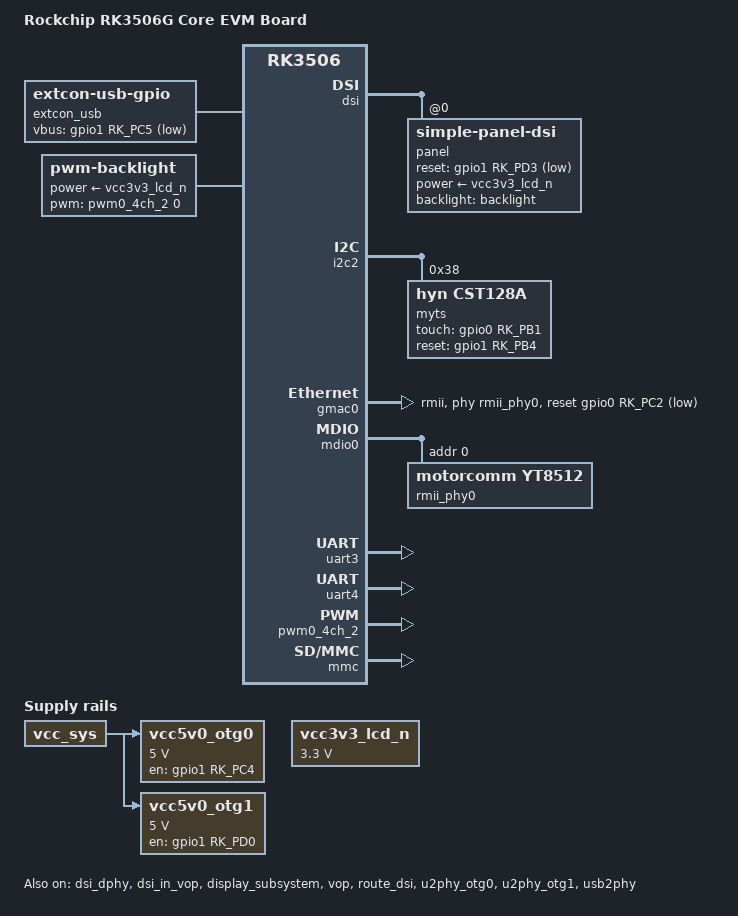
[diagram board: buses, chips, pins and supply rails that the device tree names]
// SPDX-License-Identifier: (GPL-2.0+ OR MIT)
/*
 * Copyright (c) 2024 Rockchip Electronics Co., Ltd.
 */

/dts-v1/;

#include "rk3506.dtsi"
#include "rk3506-evb1-v10.dtsi"
#include <dt-bindings/display/drm_mipi_dsi.h>

/ {
	model = "Rockchip RK3506G Core EVM Board";
	compatible = "rockchip,rk3506g-core-evm", "rockchip,rk3506";

	chosen {
		bootargs = "earlycon=uart8250,mmio32,0xff0a0000,115200 console=ttyFIQ0,115200 storagemedia=sd root=/dev/mmcblk0p3 rootfstype=ext4 rw rootwait";
	};

	extcon_usb: extcon-usb {
		compatible = "linux,extcon-usb-gpio";
		vbus-gpio = <&gpio1 RK_PC5 GPIO_ACTIVE_LOW>;
		pinctrl-names = "default";
		pinctrl-0 = <&usb_extcon_vbus>;
		status = "okay";
	};

	vcc3v3_lcd_n: vcc3v3-lcd0-n {
		compatible = "regulator-fixed";
		/* GPIO1_D3 is now used for LCD_RESET, so remove GPIO control for power */
		/* Power is always on or controlled by hardware */
		regulator-name = "vcc3v3_lcd_n";
		regulator-boot-on;
		regulator-always-on;
		regulator-min-microvolt = <3300000>;
		regulator-max-microvolt = <3300000>;
		status = "okay";
		regulator-state-mem {
			regulator-on-in-suspend;
		};
	};

	vcc5v0_otg0: vcc5v0-otg0-regulator {
		compatible = "regulator-fixed";
		regulator-name = "vcc5v0_otg0";
		regulator-min-microvolt = <5000000>;
		regulator-max-microvolt = <5000000>;
		enable-active-high;
		gpio = <&gpio1 RK_PC4 GPIO_ACTIVE_HIGH>;
		vin-supply = <&vcc_sys>;
		pinctrl-names = "default";
		pinctrl-0 = <&vcc5v0_otg0_en>;
	};

	vcc5v0_otg1: vcc5v0-otg1-regulator {
		compatible = "regulator-fixed";
		regulator-name = "vcc5v0_otg1";
		regulator-boot-on;
		regulator-always-on;
		regulator-min-microvolt = <5000000>;
		regulator-max-microvolt = <5000000>;
		enable-active-high;
		gpio = <&gpio1 RK_PD0 GPIO_ACTIVE_HIGH>;
		vin-supply = <&vcc_sys>;
		pinctrl-names = "default";
		pinctrl-0 = <&vcc5v0_otg1_en>;
	};

	backlight: backlight {
		compatible = "pwm-backlight";
		pwms = <&pwm0_4ch_2 0 25000 0>;
		power-supply = <&vcc3v3_lcd_n>;
		brightness-levels = <
			  0  20  20  21  21  22  22  23
			 23  24  24  25  25  26  26  27
			 27  28  28  29  29  30  30  31
			 31  32  32  33  33  34  34  35
			 35  36  36  37  37  38  38  39
			 40  41  42  43  44  45  46  47
			 48  49  50  51  52  53  54  55
			 56  57  58  59  60  61  62  63
			 64  65  66  67  68  69  70  71
			 72  73  74  75  76  77  78  79
			 80  81  82  83  84  85  86  87
			 88  89  90  91  92  93  94  95
			 96  97  98  99 100 101 102 103
			104 105 106 107 108 109 110 111
			112 113 114 115 116 117 118 119
			120 121 122 123 124 125 126 127
			128 129 130 131 132 133 134 135
			136 137 138 139 140 141 142 143
			144 145 146 147 148 149 150 151
			152 153 154 155 156 157 158 159
			160 161 162 163 164 165 166 167
			168 169 170 171 172 173 174 175
			176 177 178 179 180 181 182 183
			184 185 186 187 188 189 190 191
			192 193 194 195 196 197 198 199
			200 201 202 203 204 205 206 207
			208 209 210 211 212 213 214 215
			216 217 218 219 220 221 222 223
			224 225 226 227 228 229 230 231
			232 233 234 235 236 237 238 239
			240 241 242 243 244 245 246 247
			248 249 250 251 252 253 254 255
		>;
		default-brightness-level = <200>;
		status = "okay";
	};
};

&acodec_sound {
	status = "disabled";
};

&cma {
	size = <0x1600000>;
};

&dsi {
	status = "okay";
	/* Try higher lane rate to match manufacturer's configuration (996 Mbps) */
	/* Original: 850, Manufacturer: 996 */
	rockchip,lane-rate = <996>;

	panel@0 {
		compatible = "simple-panel-dsi";
		reg = <0>;
		power-supply = <&vcc3v3_lcd_n>;
		/* GPIO1_D3 -> LCD_RESET (according to hardware connection table) */
		reset-gpios = <&gpio1 RK_PD3 GPIO_ACTIVE_LOW>;
		backlight = <&backlight>;
		
		/* Timing delays */
		reset-delay-ms = <30>;
		enable-delay-ms = <100>;
		prepare-delay-ms = <20>;
		unprepare-delay-ms = <20>;
		disable-delay-ms = <20>;
		init-delay-ms = <120>;
		
		/* DSI configuration */
		dsi,flags = <(MIPI_DSI_MODE_VIDEO | MIPI_DSI_MODE_VIDEO_BURST |
			      MIPI_DSI_MODE_LPM | MIPI_DSI_MODE_NO_EOT_PACKET)>;
		dsi,format = <MIPI_DSI_FMT_RGB888>;
		dsi,lanes = <2>;
		
		/* Panel initialization sequence from rk3506-evm-nand-480x800-mipi.dtsi */
		/* Note: Comments in panel-init-sequence may cause parsing errors, removed them */
		panel-init-sequence = [
			05 78 01 01
			05 78 01 11
			39 00 06 FF 77 01 00 00 11
			15 00 02 D1 11
			15 00 02 55 B0
			39 00 06 FF 77 01 00 00 10
			39 00 03 C0 63 00
			39 00 03 C1 09 02
			39 00 03 C2 37 08
			15 00 02 C7 00
			15 00 02 CC 38
			39 00 11 B0 00 11 19 0C 10 06 07 0A 09 22 04 10 0E 28 30 1C
			39 00 11 B1 00 12 19 0D 10 04 06 07 08 23 04 12 11 28 30 1C
			39 00 06 FF 77 01 00 00 11
			15 00 02 B0 4D
			15 00 02 B1 60
			15 00 02 B2 07
			15 00 02 B3 80
			15 00 02 B5 47
			15 00 02 B7 8A
			15 00 02 B8 21
			15 00 02 C1 78
			15 00 02 C2 78
			15 64 02 D0 88
			39 00 04 E0 00 00 02
			39 00 0C E1 01 A0 03 A0 02 A0 04 A0 00 44 44
			39 00 0D E2 00 00 00 00 00 00 00 00 00 00 00 00
			39 00 05 E3 00 00 33 33
			39 00 03 E4 44 44
			39 00 11 E5 01 26 A0 A0 03 28 A0 A0 05 2A A0 A0 07 2C A0 A0
			39 00 05 E6 00 00 33 33
			39 00 03 E7 44 44
			39 00 11 E8 02 26 A0 A0 04 28 A0 A0 06 2A A0 A0 08 2C A0 A0
			39 00 08 EB 00 01 E4 E4 44 00 40
			39 00 11 ED FF F7 65 4F 0B A1 CF FF FF FC 1A B0 F4 56 7F FF
			39 00 06 FF 77 01 00 00 00
			15 00 02 36 00
			15 00 02 3A 55
			05 78 01 11
			05 14 01 29
		];
		
		/* Panel exit sequence */
		panel-exit-sequence = [
			05 00 01 28
			05 00 01 10
		];
		
		/* Bits per color - required by panel-simple-dsi */
		/* Must be before subnodes (display-timings) */
		bpc = <8>;
		
		/* Display timings for 480x800 panel */
		display-timings {
			native-mode = <&dsi_timing0>;
			dsi_timing0: timing0 {
				clock-frequency = <27000000>;
				hactive = <480>;
				vactive = <800>;
				hfront-porch = <32>;
				hsync-len = <4>;
				hback-porch = <32>;
				vfront-porch = <9>;
				vsync-len = <4>;
				vback-porch = <3>;
				hsync-active = <0>;
				vsync-active = <0>;
				de-active = <0>;
				pixelclk-active = <0>;
			};
		};
	};
};

&dsi_dphy {
	status = "okay";
};

&dsi_in_vop {
	status = "okay";
};

&es8388 {
	status = "disabled";
};

&es8388_sound {
	status = "disabled";
};

//&i2c2 {
//	clock-frequency = <400000>;
//	pinctrl-names = "default";
//	pinctrl-0 = <&rm_io4_i2c2_scl &rm_io5_i2c2_sda>;
//	status = "okay";
//
//	gt1x: gt1x@14 {
//		compatible = "goodix,gt1x";
//		reg = <0x14>;
//		gtp_ics_slot_report;
//		goodix,rst-gpio = <&gpio1 RK_PB4 GPIO_ACTIVE_HIGH>; /* GPIO1_B4 -> CAP_RST */
//		goodix,irq-gpio = <&gpio0 RK_PB1 GPIO_ACTIVE_LOW>; /* GPIO0_B1 -> CAP_TS_INT */
//		power-supply = <&vcc3v3_lcd_n>;
//		status = "okay";
//	};
//};

// TOUCH
&i2c2 {
	status = "okay";
	 pinctrl-0 = <&rm_io4_i2c2_scl &rm_io5_i2c2_sda>;

	myts@38 {
		status = "okay";
		compatible = "hyn,cst128a";
		reg = <0x38>;
		tp-size = <89>;
		max-x = <480>;
		max-y = <800>;
		touch-gpio = <&gpio0 RK_PB1 IRQ_TYPE_LEVEL_LOW>;
		reset-gpio = <&gpio1 RK_PB4 GPIO_ACTIVE_HIGH>;
	};
};

&pinctrl {
	myts{
		touch_gpio: touch-gpio {
			rockchip,pins = <0 RK_PB1 RK_FUNC_GPIO &pcfg_pull_up>;
		};
	};
};

&pinctrl {
	usb {
		usb_extcon_vbus: usb-extcon-vbus {
			rockchip,pins = <1 RK_PC5 RK_FUNC_GPIO &pcfg_pull_none>;
		};

		vcc5v0_otg0_en: vcc5v0-otg0-en {
			rockchip,pins = <1 RK_PC4 RK_FUNC_GPIO &pcfg_pull_none>;
		};

		vcc5v0_otg1_en: vcc5v0-otg1-en {
			rockchip,pins = <1 RK_PD0 RK_FUNC_GPIO &pcfg_pull_none>;
		};
	};

	sdmmc {
		/omit-if-no-ref/
		sdmmc_det: sdmmc-det {
			rockchip,pins = <3 RK_PA7 RK_FUNC_GPIO &pcfg_pull_up>;
		};
	};
};

&display_subsystem {
	status = "okay";
	/* logo-memory-region = <&drm_logo>; */
};

&vop {
	status = "okay";
};

&route_dsi {
	status = "okay";
};

&sai1 {
	status = "disabled";
};

&gmac0 {
	phy-mode = "rmii";
	clock_in_out = "input";

	snps,reset-gpio = <&gpio0 RK_PC2 GPIO_ACTIVE_LOW>;
	snps,reset-active-low;
	snps,reset-delays-us = <0 20000 100000>;

	pinctrl-names = "default";
	pinctrl-0 = <&eth_rmii0_miim_pins
		     &eth_rmii0_tx_bus2_pins
		     &eth_rmii0_rx_bus2_pins
		     &eth_rmii0_clk_pins>;

	phy-handle = <&rmii_phy0>;
	/* Fixed MAC address: da:40:4e:c0:94:55 */
	local-mac-address = [da 40 4e c0 94 55];
	status = "okay";
};

&mdio0 {
	status = "okay";
	/* Override PHY configuration for YT8512B */
	/delete-node/ phy@1;
	rmii_phy0: phy@0 {
		compatible = "motorcomm,yt8512", "ethernet-phy-id0000.0011", "ethernet-phy-ieee802.3-c22";
		reg = <0x0>;
		max-speed = <100>;
		clocks = <&cru CLK_MAC_OUT>;
		assigned-clocks = <&cru CLK_MAC_OUT>;
		assigned-clock-rates = <25000000>;
	};
};

&uart0 {
	/* UART0 must be disabled when FIQ debugger uses it */
	/* FIQ debugger will take control of UART0 */
	status = "disabled";
};

&uart3 {
	pinctrl-names = "default";
	pinctrl-0 = <&rm_io26_uart3_tx &rm_io25_uart3_rx &rm_io24_uart3_rtsn &rm_io29_uart3_ctsn>;
	linux,rs485-enabled-at-boot-time;	/* enable rs485 */
	status = "okay";
};

&uart4 {
	dma-names = "!tx", "!rx";	/* remove ! to enable dma */
	pinctrl-names = "default";
	pinctrl-0 = <&rm_io27_uart4_tx &rm_io28_uart4_rx>;   /* vccio1 */
	status = "okay";
};

&u2phy_otg0 {
	vbus-supply = <&vcc5v0_otg0>;
	rockchip,gpio-vbus-det;
	status = "okay";
};

&u2phy_otg1 {
	phy-supply = <&vcc5v0_otg1>;
	status = "okay";
};

&usb2phy {
	extcon = <&extcon_usb>;
	status = "okay";
};

&pwm0_4ch_2 {
	pinctrl-names = "active";
	pinctrl-0 = <&rm_io10_pwm0_ch2>;
	assigned-clocks = <&cru CLK_PWM0>;
	assigned-clock-rates = <100000000>;
	status = "okay";
};

&mmc {
	/* Override MMC configuration for SD card support */
	/* Remove no-sd and non-removable properties from base dtsi */
	/delete-property/ no-sd;
	/delete-property/ non-removable;
	/delete-property/ mmc-pwrseq;
	no-sdio;
	no-mmc;
	cap-mmc-highspeed;
	cap-sd-highspeed;
	/* DEBUG: Temporarily disable CD detection to force card recognition */
	/* cd-gpios = <&gpio3 RK_PA7 GPIO_ACTIVE_LOW>; */
	broken-cd;
	disable-wp;
	sd-uhs-sdr104;
	max-frequency = <150000000>;
	pinctrl-names = "default";
	pinctrl-0 = <&sdmmc_clk_pins &sdmmc_cmd_pins &sdmmc_bus4_pins>;
	status = "okay";
};

/* Configure FIQ debugger to use 115200 baudrate */
&fiq_debugger {
	rockchip,baudrate = <115200>;
};

